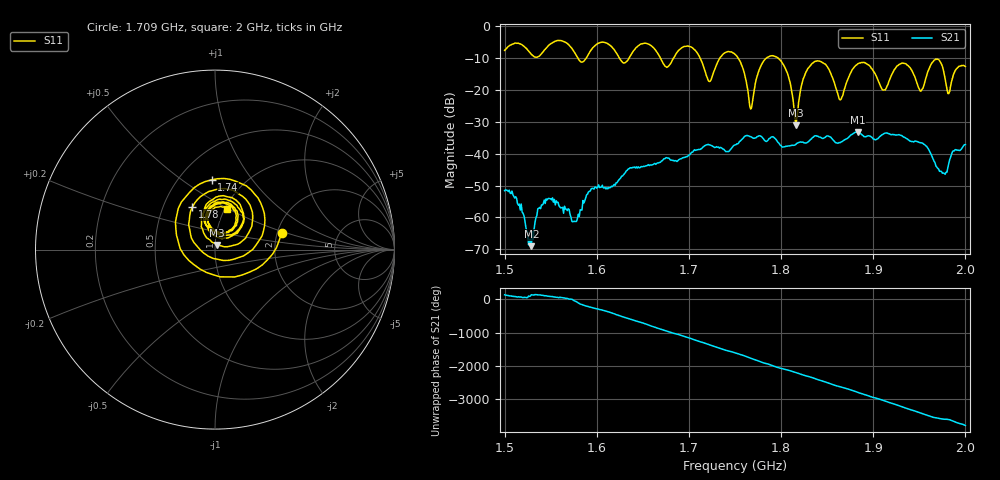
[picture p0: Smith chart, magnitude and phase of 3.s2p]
! NanoVNA-App by SYSJOINT et al v1.1.209 (+OD18)
! Date: 2026-01-21 14:22:16
! Start: 1,5GHz Stop: 2GHz Points: 501
! S-Parameter data: F S11 S21 S12 S22
# Hz S RI R 50
!  Frequency  S11_Real  S11_Imag  S21_Real  S21_Imag  S12_Real  S12_Imag  S22_Real  S22_Imag
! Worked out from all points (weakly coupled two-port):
!   501 points, 1.5 GHz to 2 GHz, reference 50 ohm
!   highest |S21| = -33.18 dB at 1.883 GHz (marker M1); lowest = -69.0 dB at 1.529 GHz (marker M2)
!   lowest |S11| = -31.0 dB at 1.816 GHz (marker M3), VSWR 1.06, Z = 51.2 + j2.6 ohm
!   |S11| at or under -10 dB: 1.712 GHz to 1.734 GHz (21.35 MHz wide, 1.24 % of centre); 1.753 GHz to 1.784 GHz (30.68 MHz wide, 1.73 % of centre); 1.797 GHz to end of sweep (the widest 3 of 6)
!   S12 and S22 are empty: the file has one direction only
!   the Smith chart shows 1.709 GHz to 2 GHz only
!   S11 on the Smith chart (normalised r, x): 1.709 GHz: 2.12, +0.45; 1.74 GHz: 0.71, +0.65; 1.78 GHz: 0.70, +0.36; 2 GHz: 1.03, +0.49
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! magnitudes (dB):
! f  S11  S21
! 1.5 GHz  -7.6  -51.6
! 1.529 GHz  -8.8  -69.0
! 1.547 GHz  -6.2  -54.1
! 1.575 GHz  -7.9  -61.3
! 1.584 GHz  -11.3  -57.7
! 1.605 GHz  -5.0  -50.5
! 1.667 GHz  -8.9  -42.9
! 1.709 GHz  -8.4  -38.8
! 1.722 GHz  -17.3  -37.2
! 1.74 GHz  -8.2  -39.4
! 1.75 GHz  -8.8  -37.2
! 1.767 GHz  -26.0  -34.6
! 1.78 GHz  -11.4  -35.0
! 1.802 GHz  -11.9  -37.9
! 1.816 GHz  -31.0  -37.1
! 1.834 GHz  -11.6  -35.0
! 1.865 GHz  -23.0  -36.3
! 1.883 GHz  -11.9  -33.2
! 1.917 GHz  -17.3  -33.7
! 1.977 GHz  -15.0  -46.2
! 1.982 GHz  -21.1  -43.1
! 2 GHz  -12.6  -37.1
